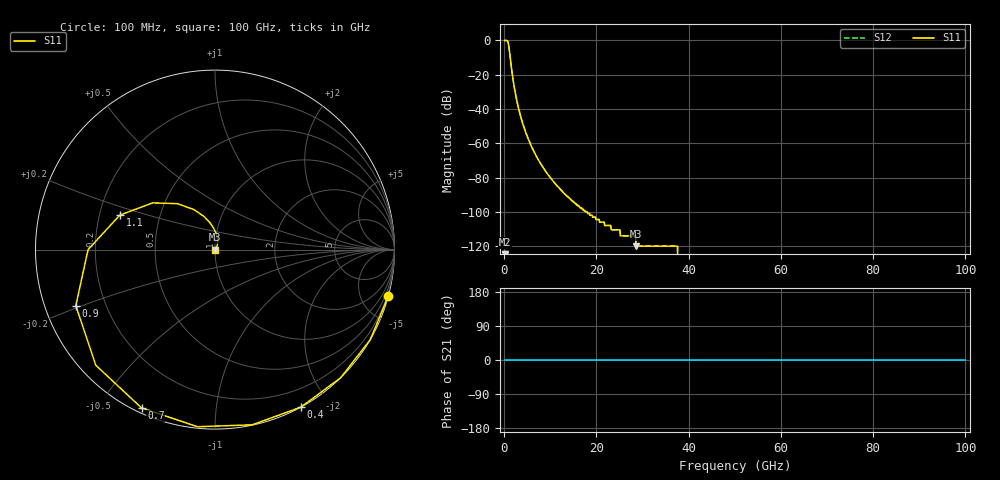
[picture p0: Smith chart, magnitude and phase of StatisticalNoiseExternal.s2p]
! File created by SignalIntegrity v1.5.1: Signal and Power Integrity Tools
! https://github.com/Nubis-Communications/SignalIntegrity
# MHz S MA R 50.0
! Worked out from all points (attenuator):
!   1000 points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, 100 MHz to 100 GHz, reference 50 ohm
!   highest |S21| = - dB at 100 MHz (marker M1); lowest = - dB at 100 MHz (marker M2)
!   lowest |S11| = -120.0 dB at 28.6 GHz (marker M3), VSWR 1.00, Z = 50 + j9.13e-06 ohm
!   |S11| at or under -10 dB: 1.316 GHz to end of sweep
!   |S22| runs from - to - dB; largest |S21 - S12| = 1
!   S11 on the Smith chart (normalised r, x): 100 MHz: -0.00, -7.60; 400 MHz: 0.00, -1.69; 700 MHz: 0.02, -0.64; 900 MHz: 0.09, -0.19; 1.1 GHz: 0.29, +0.16; 100 GHz: 1.00, +0.00
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100  1 -15.0  0 0.0  1 -15.0  0 0.0
400  0.9997 -61.4  0 0.0  0.9997 -61.4  0 0.0
700  0.9724 -114.9  0 0.0  0.9724 -114.9  0 0.0
900  0.8361 -158.1  0 0.0  0.8361 -158.1  0 0.0
1100  0.564 160.1  0 0.0  0.564 160.1  0 0.0
1300  0.3305 129.2  0 0.0  0.3305 129.2  0 0.0
1500  0.1938 108.3  0 0.0  0.1938 108.3  0 0.0
1800  0.09483 87.6  0 0.0  0.09483 87.6  0 0.0
2400  0.03013 64.1  0 0.0  0.03013 64.1  0 0.0
3500  0.006664 43.3  0 0.0  0.006664 43.3  0 0.0
4300  0.002925 35.1  0 0.0  0.002925 35.1  0 0.0
5200  0.001368 28.9  0 0.0  0.001368 28.9  0 0.0
7400  0.000333 20.3  0 0.0  0.000333 20.3  0 0.0
9400  0.000128 16.0  0 0.0  0.000128 16.0  0 0.0
10200  9.2e-05 14.7  0 0.0  9.2e-05 14.7  0 0.0
16800  1.3e-05 8.9  0 0.0  1.3e-05 8.9  0 0.0
28600  1e-06 5.2  0 0.0  1e-06 5.2  0 0.0
33400  1e-06 4.5  0 0.0  1e-06 4.5  0 0.0
50100  0 3.0  0 0.0  0 3.0  0 0.0
66700  0 2.2  0 0.0  0 2.2  0 0.0
83400  0 1.8  0 0.0  0 1.8  0 0.0
100000  0 1.5  0 0.0  0 1.5  0 0.0
